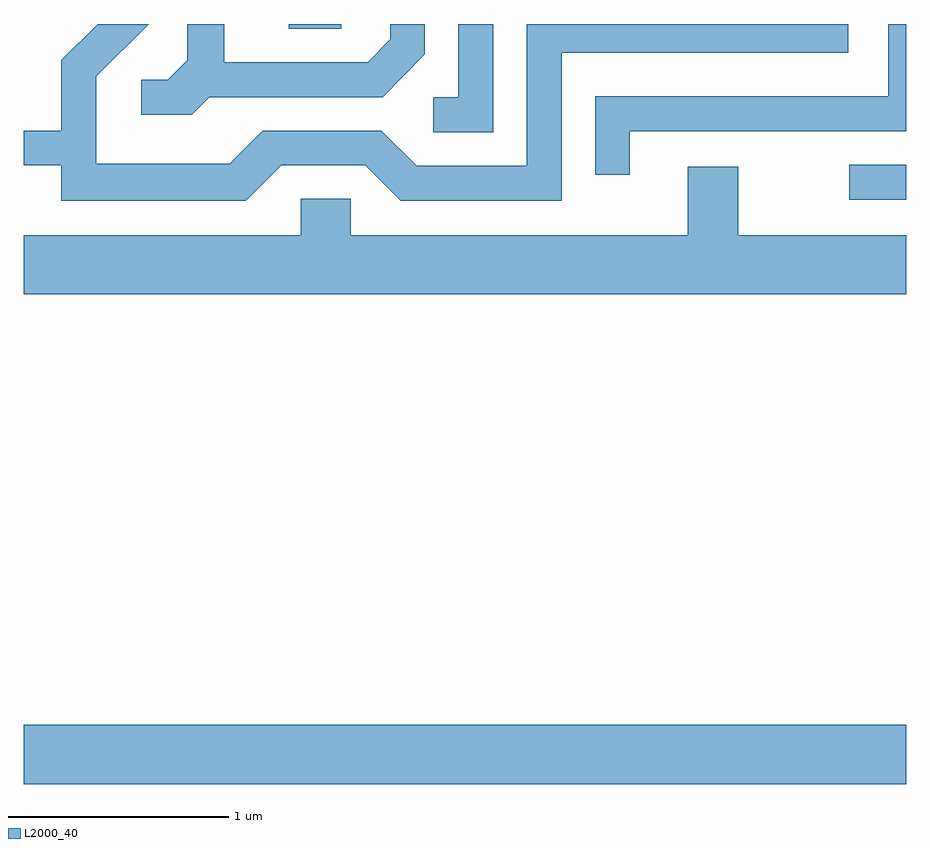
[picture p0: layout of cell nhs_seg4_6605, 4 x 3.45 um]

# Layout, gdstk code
import gdstk
lib = gdstk.Library(unit=1e-6, precision=1e-09)
def R(c, l, rs):  # rectangles x0, y0, x1, y1
    for r in rs: c.add(gdstk.rectangle(r[:2], r[2:], *l))
def P(c, l, *ps):  # polygons
    for p in ps: c.add(gdstk.Polygon(p, *l))
L2000_40 = (2000, 40)

nhs_seg4_6605 = lib.new_cell('nhs_seg4_6605')
R(nhs_seg4_6605, L2000_40, [(379.611,1272.536,383.611,1272.804), (383.353,1275.186,383.611,1275.344), (380.811,1275.961,381.049,1275.982)])
P(nhs_seg4_6605, L2000_40, [(380.777,1275.341),(381.159,1275.341),(381.319,1275.181),(382.049,1275.181),(382.049,1275.851),(383.349,1275.851),(383.349,1275.982),(381.891,1275.982),(381.891,1275.339),(381.392,1275.339),(381.232,1275.499),(380.694,1275.499),(380.544,1275.349),(379.939,1275.349),(379.939,1275.744),(380.177,1275.982),(379.946,1275.982),(379.781,1275.817),(379.781,1275.499),(379.611,1275.499),(379.611,1275.341),(379.781,1275.341),(379.781,1275.181),(380.617,1275.181)],
  [(382.359,1275.496),(383.611,1275.496),(383.611,1275.982),(383.531,1275.982),(383.531,1275.654),(382.201,1275.654),(382.201,1275.298),(382.359,1275.298)],
  [(380.452,1275.651),(381.237,1275.651),(381.429,1275.844),(381.429,1275.982),(381.271,1275.982),(381.271,1275.912),(381.169,1275.809),(380.519,1275.809),(380.519,1275.982),(380.351,1275.982),(380.351,1275.817),(380.264,1275.729),(380.143,1275.729),(380.143,1275.571),(380.372,1275.571)],
  [(381.739,1275.982),(381.581,1275.982),(381.581,1275.649),(381.468,1275.649),(381.468,1275.491),(381.739,1275.491)],
  [(383.611,1275.024),(382.849,1275.024),(382.849,1275.334),(382.621,1275.334),(382.621,1275.024),(381.094,1275.024),(381.094,1275.189),(380.866,1275.189),(380.866,1275.024),(379.611,1275.024),(379.611,1274.756),(383.611,1274.756)])

lib.write_gds('nhs_seg4_6605.gds')
